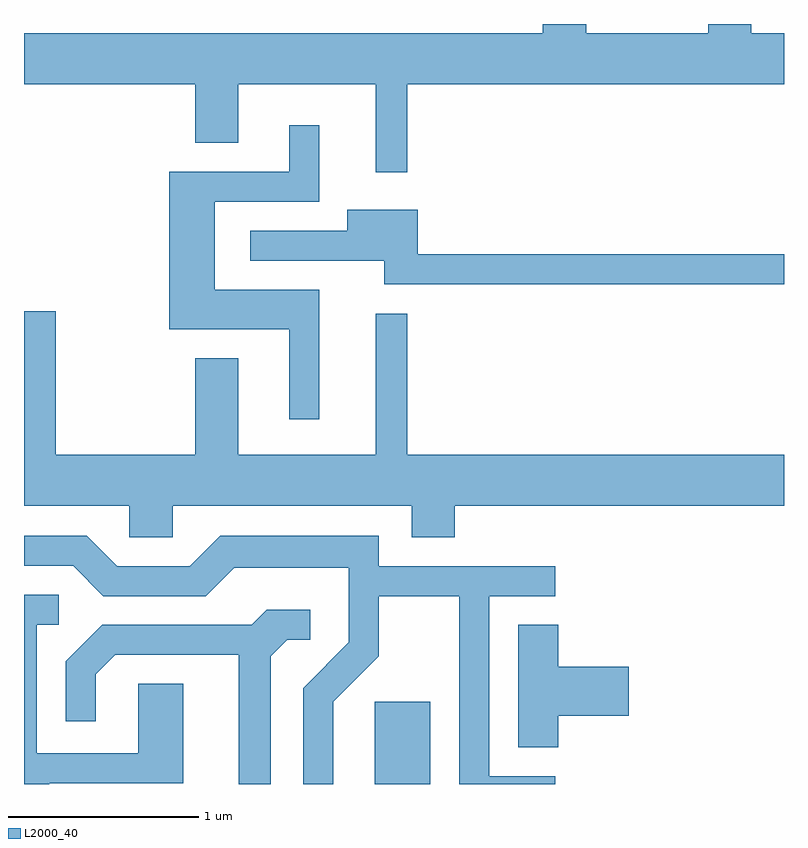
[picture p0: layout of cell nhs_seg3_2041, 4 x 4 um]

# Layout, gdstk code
import gdstk
lib = gdstk.Library(unit=1e-6, precision=1e-09)
def R(c, l, rs):  # rectangles x0, y0, x1, y1
    for r in rs: c.add(gdstk.rectangle(r[:2], r[2:], *l))
def P(c, l, *ps):  # polygons
    for p in ps: c.add(gdstk.Polygon(p, *l))
L2000_40 = (2000, 40)

nhs_seg3_2041 = lib.new_cell('nhs_seg3_2041')
R(nhs_seg3_2041, L2000_40, [(247.456,1117.892,247.749,1118.324)])
P(nhs_seg3_2041, L2000_40, [(247.629,1121.576),(249.611,1121.576),(249.611,1121.844),(249.439,1121.844),(249.439,1121.892),(249.211,1121.892),(249.211,1121.844),(248.569,1121.844),(248.569,1121.892),(248.341,1121.892),(248.341,1121.844),(245.611,1121.844),(245.611,1121.576),(246.511,1121.576),(246.511,1121.266),(246.739,1121.266),(246.739,1121.576),(247.461,1121.576),(247.461,1121.113),(247.629,1121.113)],
  [(247.164,1120.494),(246.614,1120.494),(246.614,1120.956),(247.164,1120.956),(247.164,1121.358),(247.006,1121.358),(247.006,1121.114),(246.376,1121.114),(246.376,1120.286),(247.006,1120.286),(247.006,1119.813),(247.164,1119.813)],
  [(249.611,1120.679),(247.684,1120.679),(247.684,1120.914),(247.311,1120.914),(247.311,1120.804),(246.803,1120.804),(246.803,1120.646),(247.506,1120.646),(247.506,1120.521),(249.611,1120.521)],
  [(246.394,1119.356),(247.651,1119.356),(247.651,1119.191),(247.879,1119.191),(247.879,1119.356),(249.611,1119.356),(249.611,1119.624),(247.629,1119.624),(247.629,1120.368),(247.461,1120.368),(247.461,1119.624),(246.739,1119.624),(246.739,1120.134),(246.511,1120.134),(246.511,1119.624),(245.779,1119.624),(245.779,1120.379),(245.611,1120.379),(245.611,1119.356),(246.166,1119.356),(246.166,1119.191),(246.394,1119.191)],
  [(247.239,1118.324),(247.479,1118.564),(247.479,1118.881),(247.901,1118.881),(247.901,1117.892),(248.408,1117.892),(248.408,1117.934),(248.059,1117.934),(248.059,1118.881),(248.408,1118.881),(248.408,1119.039),(247.479,1119.039),(247.479,1119.199),(246.644,1119.199),(246.484,1119.039),(246.102,1119.039),(245.942,1119.199),(245.611,1119.199),(245.611,1119.041),(245.869,1119.041),(246.029,1118.881),(246.567,1118.881),(246.717,1119.031),(247.321,1119.031),(247.321,1118.637),(247.081,1118.397),(247.081,1117.892),(247.239,1117.892)],
  [(245.745,1117.896),(246.449,1117.896),(246.449,1118.419),(246.211,1118.419),(246.211,1118.054),(245.679,1118.054),(245.679,1118.731),(245.793,1118.731),(245.793,1118.889),(245.611,1118.889),(245.611,1117.892),(245.745,1117.892)],
  [(246.909,1118.564),(246.997,1118.651),(247.118,1118.651),(247.118,1118.809),(246.889,1118.809),(246.809,1118.729),(246.024,1118.729),(245.831,1118.537),(245.831,1118.223),(245.989,1118.223),(245.989,1118.469),(246.092,1118.571),(246.741,1118.571),(246.741,1117.892),(246.909,1117.892)],
  [(248.424,1118.251),(248.794,1118.251),(248.794,1118.509),(248.424,1118.509),(248.424,1118.729),(248.211,1118.729),(248.211,1118.086),(248.424,1118.086)])

lib.write_gds('nhs_seg3_2041.gds')
